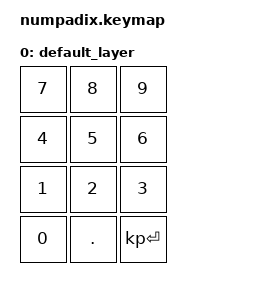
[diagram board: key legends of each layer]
#include <behaviors.dtsi>
#include <dt-bindings/zmk/keys.h>

/ {
    keymap {
        compatible = "zmk,keymap";

        default_layer {
            bindings = <
                &kp N7        &kp N8        &kp N9
                &kp N4        &kp N5        &kp N6
                &kp N1        &kp N2        &kp N3
                &kp N0        &kp DOT       &kp KP_ENTER
            >;
        };
    };
};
